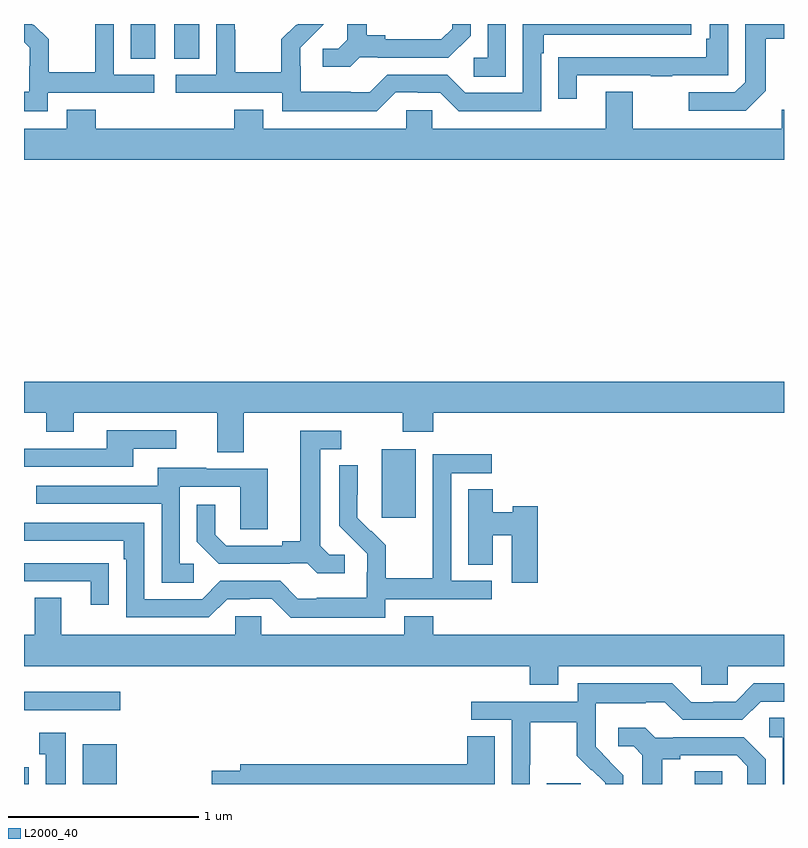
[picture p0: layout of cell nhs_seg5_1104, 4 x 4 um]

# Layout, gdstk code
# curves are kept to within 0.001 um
import gdstk
lib = gdstk.Library(unit=1e-6, precision=1e-09)
def R(c, l, rs):  # rectangles x0, y0, x1, y1
    for r in rs: c.add(gdstk.rectangle(r[:2], r[2:], *l))
def P(c, l, *ps):  # polygons
    for p in ps: c.add(gdstk.Polygon(p, *l))
L2000_40 = (2000, 40)

nhs_seg5_1104 = lib.new_cell('nhs_seg5_1104')
R(nhs_seg5_1104, L2000_40, [(179,862.799,179.026,862.888), (179.309,862.799,179.488,863.008), (181.751,862.799,181.93,862.803), (182.531,862.799,182.676,862.865), (179,863.187,179.506,863.284), (180.884,864.201,181.063,864.562), (179.561,866.617,179.692,866.799), (179.792,866.617,179.923,866.799)])
P(nhs_seg5_1104, L2000_40, [(181.909,866.529),(182.299,866.529),(182.299,866.524),(182.411,866.524),(182.411,866.529),(182.706,866.529),(182.706,866.799),(182.61,866.799),(182.61,866.722),(182.59,866.722),(182.59,866.625),(181.915,866.625),(181.915,866.624),(181.813,866.624),(181.813,866.406),(181.909,866.406)],
  [(180.768,866.625),(180.862,866.625),(180.862,866.622),(181.234,866.622),(181.35,866.738),(181.35,866.799),(181.253,866.799),(181.253,866.775),(181.196,866.718),(180.901,866.718),(180.901,866.741),(180.805,866.741),(180.805,866.799),(180.701,866.799),(180.701,866.717),(180.654,866.67),(180.573,866.67),(180.573,866.573),(180.716,866.573)],
  [(179.124,866.436),(179.686,866.436),(179.686,866.532),(179.472,866.532),(179.472,866.799),(179.376,866.799),(179.376,866.768),(179.374,866.768),(179.374,866.545),(179.129,866.545),(179.129,866.719),(179.052,866.796),(179.049,866.793),(179.043,866.799),(179,866.799),(179,866.704),(179.03,866.674),(179.03,866.577),(179.028,866.577),(179.028,866.443),(179,866.443),(179,866.339),(179.124,866.339)],
  [(181.536,866.799),(181.44,866.799),(181.44,866.622),(181.368,866.622),(181.368,866.521),(181.536,866.521)],
  [(182.905,866.449),(182.905,866.722),(183,866.722),(183,866.799),(182.796,866.799),(182.796,866.493),(182.742,866.439),(182.499,866.439),(182.499,866.343),(182.799,866.343)],
  [(180.957,866.439),(181.073,866.439),(181.073,866.436),(181.191,866.436),(181.287,866.34),(181.722,866.34),(181.722,866.645),(181.735,866.645),(181.735,866.742),(182.512,866.742),(182.512,866.799),(181.626,866.799),(181.626,866.436),(181.323,866.436),(181.227,866.532),(180.912,866.532),(180.819,866.439),(180.719,866.439),(180.719,866.443),(180.456,866.443),(180.456,866.577),(180.454,866.577),(180.454,866.674),(180.577,866.799),(180.441,866.799),(180.435,866.793),(180.432,866.796),(180.355,866.719),(180.355,866.545),(180.111,866.545),(180.111,866.768),(180.108,866.768),(180.108,866.799),(180.012,866.799),(180.012,866.532),(179.799,866.532),(179.799,866.436),(180.36,866.436),(180.36,866.339),(180.857,866.339)],
  [(183,866.347),(182.987,866.347),(182.987,866.248),(182.203,866.248),(182.203,866.443),(182.063,866.443),(182.063,866.248),(181.149,866.248),(181.149,866.346),(181.011,866.346),(181.011,866.248),(180.259,866.248),(180.259,866.347),(180.107,866.347),(180.107,866.248),(179.378,866.248),(179.378,866.347),(179.225,866.347),(179.225,866.248),(179,866.248),(179,866.084),(183,866.084)],
  [(180.157,864.752),(180.994,864.752),(180.994,864.653),(181.154,864.653),(181.154,864.752),(183,864.752),(183,864.916),(179,864.916),(179,864.752),(179.116,864.752),(179.116,864.653),(179.263,864.653),(179.263,864.752),(180.017,864.752),(180.017,864.544),(180.157,864.544)],
  [(179.575,864.564),(179.8,864.564),(179.8,864.66),(179.435,864.66),(179.435,864.564),(179,864.564),(179,864.468),(179.575,864.468)],
  [(180.688,864.006),(180.606,864.006),(180.559,864.053),(180.559,864.561),(180.67,864.561),(180.67,864.657),(180.455,864.657),(180.455,864.077),(180.359,864.077),(180.359,864.054),(180.064,864.054),(180.007,864.111),(180.007,864.268),(179.91,864.268),(179.91,864.074),(180.026,863.958),(180.398,863.958),(180.398,863.961),(180.492,863.961),(180.544,863.909),(180.688,863.909)],
  [(180.9,863.772),(181.462,863.772),(181.462,863.868),(181.248,863.868),(181.248,864.435),(181.462,864.435),(181.462,864.534),(181.152,864.534),(181.152,864.104),(181.15,864.104),(181.15,863.881),(180.905,863.881),(180.905,864.055),(180.828,864.132),(180.825,864.129),(180.755,864.2),(180.756,864.476),(180.66,864.476),(180.66,864.158),(180.806,864.01),(180.806,863.913),(180.804,863.913),(180.804,863.779),(180.541,863.779),(180.541,863.775),(180.441,863.775),(180.348,863.868),(180.033,863.868),(179.937,863.772),(179.634,863.772),(179.634,864.174),(179,864.174),(179,864.078),(179.525,864.078),(179.525,863.981),(179.538,863.981),(179.538,863.676),(179.973,863.676),(180.069,863.772),(180.188,863.772),(180.188,863.775),(180.303,863.775),(180.403,863.675),(180.9,863.675)],
  [(179.893,863.958),(179.82,863.958),(179.82,864.363),(180.138,864.363),(180.138,864.139),(180.283,864.139),(180.283,864.459),(179.959,864.459),(179.959,864.463),(179.705,864.463),(179.705,864.369),(179.065,864.369),(179.065,864.273),(179.724,864.273),(179.724,863.857),(179.893,863.857)],
  [(181.703,864.26),(181.572,864.26),(181.572,864.229),(181.468,864.229),(181.468,864.35),(181.337,864.35),(181.337,863.953),(181.468,863.953),(181.468,864.107),(181.568,864.107),(181.568,863.859),(181.703,863.859)],
  [(179.447,863.96),(179.345,863.96),(179.345,863.961),(179,863.961),(179,863.865),(179.351,863.865),(179.351,863.742),(179.447,863.742)],
  [(181.661,863.321),(181.813,863.321),(181.813,863.42),(182.565,863.42),(182.565,863.322),(182.703,863.322),(182.703,863.42),(183,863.42),(183,863.584),(181.154,863.584),(181.154,863.683),(181.001,863.683),(181.001,863.584),(180.249,863.584),(180.249,863.682),(180.111,863.682),(180.111,863.584),(179.197,863.584),(179.197,863.779),(179.057,863.779),(179.057,863.584),(179,863.584),(179,863.42),(181.661,863.42)],
  [(181.662,862.9),(181.665,862.9),(181.665,863.124),(181.909,863.124),(181.909,862.949),(181.986,862.872),(181.989,862.875),(182.06,862.805),(182.06,862.799),(182.154,862.799),(182.154,862.846),(182.008,862.994),(182.008,863.091),(182.01,863.091),(182.01,863.225),(182.273,863.225),(182.273,863.229),(182.373,863.229),(182.466,863.136),(182.781,863.136),(182.877,863.232),(183,863.232),(183,863.328),(182.841,863.328),(182.745,863.232),(182.627,863.232),(182.627,863.229),(182.511,863.229),(182.411,863.329),(181.914,863.329),(181.914,863.232),(181.353,863.232),(181.353,863.136),(181.566,863.136),(181.566,862.799),(181.662,862.799)],
  [(183,863.147),(182.922,863.147),(182.922,863.046),(182.994,863.046),(182.994,862.799),(183,862.799)],
  [(182.359,862.928),(182.455,862.928),(182.455,862.95),(182.75,862.95),(182.807,862.893),(182.807,862.799),(182.904,862.799),(182.904,862.93),(182.788,863.046),(182.416,863.046),(182.416,863.043),(182.322,863.043),(182.27,863.095),(182.127,863.095),(182.127,862.998),(182.208,862.998),(182.255,862.951),(182.255,862.799),(182.359,862.799)],
  [(179.221,863.068),(179.081,863.068),(179.081,862.955),(179.114,862.955),(179.114,862.799),(179.221,862.799)],
  [(181.477,863.051),(181.334,863.051),(181.334,862.904),(180.137,862.904),(180.137,862.868),(179.988,862.868),(179.988,862.799),(181.477,862.799)])

lib.write_gds('nhs_seg5_1104.gds')
